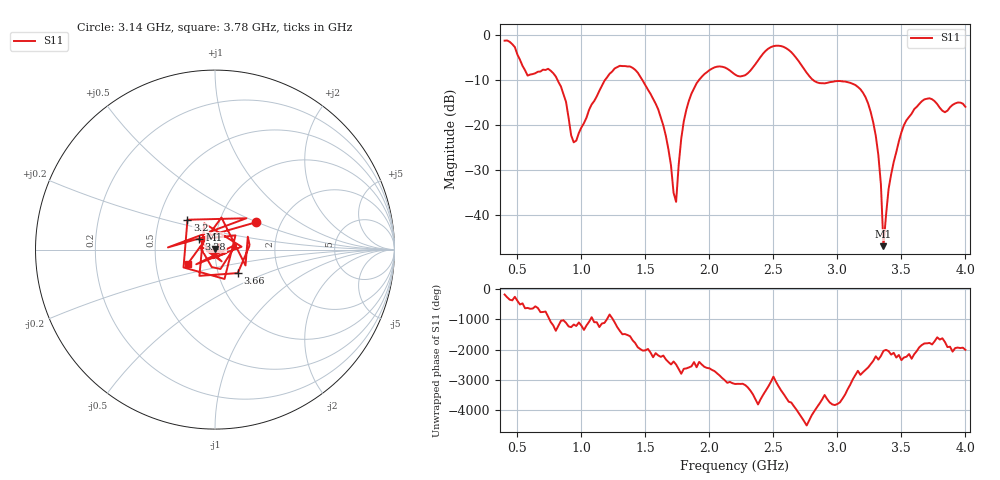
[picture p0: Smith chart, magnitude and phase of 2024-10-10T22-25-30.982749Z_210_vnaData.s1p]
! Created with skrf (http://scikit-rf.org).
# Hz S RI R 50.0
!freq ReS11 ImS11
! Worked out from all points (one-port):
!   181 points, 400 MHz to 4 GHz, reference 50 ohm
!   lowest |S11| = -46.9 dB at 3.36 GHz (marker M1), VSWR 1.01, Z = 49.8 + j0.395 ohm
!   |S11| at or under -10 dB: 811.8 MHz to 1.187 GHz (375.1 MHz wide, 37.5 % of centre); 1.474 GHz to 1.921 GHz (446.7 MHz wide, 26.3 % of centre); 2.807 GHz to end of sweep
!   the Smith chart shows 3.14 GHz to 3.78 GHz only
!   S11 on the Smith chart (normalised r, x): 3.14 GHz: 1.50, +0.50; 3.2 GHz: 0.70, +0.25; 3.28 GHz: 0.83, +0.10; 3.66 GHz: 1.24, -0.34; 3.78 GHz: 0.73, -0.12
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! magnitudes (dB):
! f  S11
! 400 MHz  -1.4
! 580 MHz  -9.1
! 740 MHz  -7.6
! 860 MHz  -13.2
! 940 MHz  -23.9
! 1.3 GHz  -6.9
! 1.44 GHz  -8.4
! 1.6 GHz  -16.6
! 1.66 GHz  -22.5
! 1.74 GHz  -37.1
! 1.76 GHz  -28.9
! 1.8 GHz  -19.2
! 1.9 GHz  -10.8
! 2.2 GHz  -8.9
! 2.5 GHz  -2.6
! 2.66 GHz  -4.6
! 2.84 GHz  -10.6
! 3.1 GHz  -10.7
! 3.14 GHz  -11.2
! 3.2 GHz  -12.9
! 3.28 GHz  -19.5
! 3.34 GHz  -33.3
! 3.36 GHz  -46.9
! 3.42 GHz  -31.0
! 3.56 GHz  -18.3
! 3.66 GHz  -14.8
! 3.78 GHz  -15.4
! 4 GHz  -16.0
